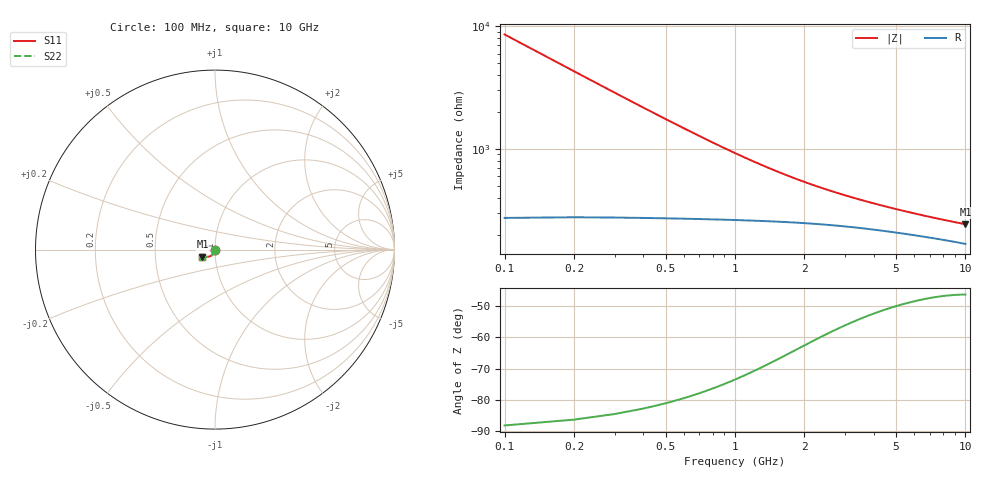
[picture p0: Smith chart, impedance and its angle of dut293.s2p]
! Touchstone file exported from HFSS 2024.1.0
!  File:  C:/UserFiles/LocalFiles/RDL_TSV_Batchsim/temp_TSV1_293_1778771042.aedt
!  Generated:  11:07:53 PM May 14, 2026
!  Design:  TSV1
!  Project:  temp_TSV1_293_1778771042
!  Setup:  Setup1
!  Solution:  Sweep
! Variables:
!  dtsv = 21.28um
!  hbump = 3um
!  htsv = 71.97um
!  lrdl = 252.1521522um
!  p = 40
!  p1 = 56.96um
!  t = 500um
!  trdl = 3um
!  wrdl = 24.89489489um
# GHz S MA R 50.000000
! Terminal data exported
! Port[1] = TSV22_T1
! Port[2] = TSV22_T2
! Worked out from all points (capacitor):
!   100 points, 100 MHz to 10 GHz, reference 50 ohm
!   read as one part in shunt: C = 185 fF near 100 MHz
!   lowest |Z| = 243 ohm at 10 GHz (marker M1)
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0.1  0.002605 -90.6  0.9998 -0.2  0.9998 -0.2  0.002605 -90.6
! Gamma 0 0 0 0
! Port Impedance 50 0 50 0
0.2  0.005202 -93.5  0.9995 -0.4  0.9995 -0.4  0.005202 -93.5
0.3  0.007779 -95.9  0.999 -0.5  0.999 -0.5  0.007779 -95.9
0.4  0.01032 -98.0  0.9984 -0.7  0.9984 -0.7  0.01032 -98.0
0.5  0.01281 -100.0  0.9975 -0.9  0.9975 -0.9  0.01281 -100.0
0.6  0.01524 -102.0  0.9966 -1.1  0.9966 -1.1  0.01524 -102.0
0.7  0.01761 -103.9  0.9955 -1.2  0.9955 -1.2  0.01761 -103.9
0.8  0.01989 -105.8  0.9944 -1.4  0.9944 -1.4  0.01989 -105.8
0.9  0.0221 -107.5  0.9931 -1.5  0.9931 -1.5  0.0221 -107.5
1.1  0.02625 -110.9  0.9905 -1.8  0.9905 -1.8  0.02625 -110.9
1.4  0.03185 -115.4  0.9863 -2.1  0.9863 -2.1  0.03185 -115.4
1.6  0.03516 -118.1  0.9835 -2.3  0.9835 -2.3  0.03516 -118.1
1.8  0.03818 -120.6  0.9807 -2.5  0.9807 -2.5  0.03818 -120.6
2.1  0.04221 -123.8  0.9767 -2.7  0.9767 -2.7  0.04221 -123.8
2.5  0.0468 -127.5  0.9719 -2.9  0.9719 -2.9  0.0468 -127.5
2.9  0.0507 -130.5  0.9675 -3.2  0.9675 -3.2  0.0507 -130.5
3.4  0.05484 -133.5  0.9628 -3.4  0.9628 -3.4  0.05484 -133.5
4.2  0.06028 -137.4  0.9563 -3.7  0.9563 -3.7  0.06028 -137.4
5.1  0.06517 -140.6  0.9504 -4.0  0.9504 -4.0  0.06517 -140.6
6.7  0.07178 -144.8  0.9423 -4.5  0.9423 -4.5  0.07178 -144.8
8.4  0.07687 -147.9  0.936 -5.0  0.936 -5.0  0.07687 -147.9
10  0.08051 -150.0  0.9316 -5.5  0.9316 -5.5  0.08051 -150.0
